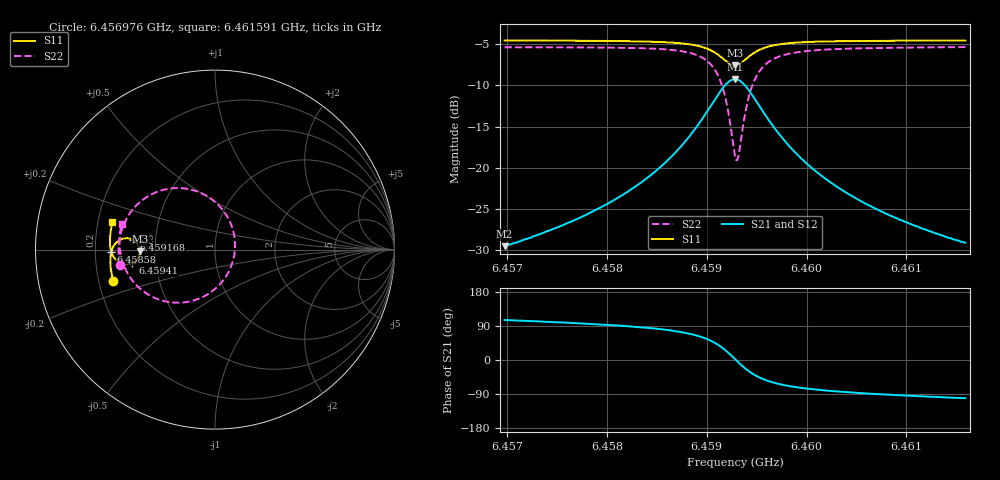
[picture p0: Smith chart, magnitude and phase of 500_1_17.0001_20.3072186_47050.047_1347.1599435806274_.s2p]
#  HZ  S  RI  R  50.00
! Rohde & Schwarz Vector Network Analyzer
! Rohde-Schwarz,ZNB20-2Port,1311601062101988,3.16
! Created: UTC 3/20/2024, 11:14:27 PM
! freq[Hz]  re:S11  im:S11  re:S21  im:S21  re:S12  im:S12  re:S22  im:S22
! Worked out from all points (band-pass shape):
!   401 points, 6.456976 GHz to 6.461591 GHz, reference 50 ohm
!   highest |S21| = -9.25 dB at 6.459283 GHz (marker M1); lowest = -29.5 dB at 6.456976 GHz (marker M2)
!   |S21| within 3 dB of the highest: 6.459054 GHz to 6.459514 GHz (460.6 kHz wide, 0.00713 % of centre)
!   lowest |S11| = -7.6 dB at 6.459283 GHz (marker M3), VSWR 2.44, Z = 20.5 - j0.481 ohm
!   |S11| at or under -10 dB: nowhere
!   |S22| runs from -19.1 to -5.4 dB; largest |S21 - S12| = 0.014
!   S11 on the Smith chart (normalised r, x): 6.456976 GHz: 0.26, -0.14; 6.45858 GHz: 0.27, -0.01; 6.459168 GHz: 0.37, +0.05; 6.45941 GHz: 0.37, -0.07; 6.461591 GHz: 0.26, +0.12
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6.4569759e9  -0.5666 -0.1723  -0.00892 0.0323  -0.00713 0.0323  -0.5318 -0.085
6.457749e9  -0.5807 -0.1046  -0.00569 0.0501  -0.00313 0.0496  -0.5374 0.00501
6.4581643e9  -0.5836 -0.0634  1.38e-05 0.0689  0.0032 0.0676  -0.5297 0.0705
6.458522e9  -0.5799 -0.0207  0.0141 0.0984  0.0181 0.0957  -0.5039 0.1503
6.4585797e9  -0.578 -0.0129  0.0185 0.1052  0.0224 0.1022  -0.4959 0.1669
6.4587874e9  -0.5651 0.0193  0.0458 0.1376  0.05 0.1327  -0.4445 0.2397
6.4589373e9  -0.5425 0.0455  0.091 0.1679  0.0942 0.1613  -0.3614 0.304
6.4590758e9  -0.4988 0.0631  0.1777 0.1846  0.1787 0.1772  -0.2026 0.3429
6.4591681e9  -0.4544 0.053  0.2676 0.1537  0.2677 0.1478  -0.0365 0.293
6.4592142e9  -0.4334 0.0342  0.3111 0.111  0.3124 0.1057  0.0464 0.217
6.4592835e9  -0.4185 -0.00967  0.3444 0.0143  0.348 0.00744  0.1115 0.0375
6.4593065e9  -0.4203 -0.0257  0.3424 -0.0209  0.3462 -0.0293  0.1076 -0.0294
6.4593181e9  -0.4225 -0.0333  0.3388 -0.0381  0.3425 -0.0471  0.1003 -0.0619
6.4593642e9  -0.4379 -0.0594  0.3103 -0.0979  0.3125 -0.1098  0.0429 -0.1751
6.4594104e9  -0.4601 -0.0755  0.2683 -0.1389  0.2675 -0.1521  -0.042 -0.2499
6.4595027e9  -0.5033 -0.0825  0.1835 -0.17  0.1776 -0.1816  -0.2106 -0.2959
6.4596527e9  -0.547 -0.0618  0.0959 -0.1562  0.0874 -0.1624  -0.3781 -0.2466
6.4598142e9  -0.5685 -0.0341  0.0512 -0.1283  0.0436 -0.1312  -0.4584 -0.1745
6.4600565e9  -0.5811 0.00143  0.0222 -0.0969  0.0164 -0.0975  -0.5063 -0.0922
6.4604142e9  -0.5855 0.0437  0.00597 -0.0695  0.00183 -0.069  -0.5279 -0.0109
6.4608295e9  -0.5835 0.0853  -0.00155 -0.0516  -0.00433 -0.0509  -0.5317 0.055
6.461591e9  -0.5712 0.1526  -0.00649 -0.0346  -0.0082 -0.0335  -0.5203 0.1449
